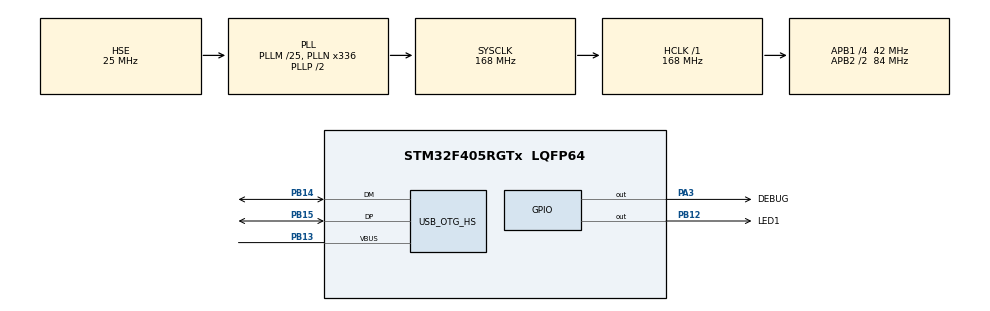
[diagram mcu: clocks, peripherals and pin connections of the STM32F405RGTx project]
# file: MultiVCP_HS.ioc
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Mcu.Family=STM32F4
Mcu.Name=STM32F405RGTx
Mcu.Package=LQFP64
NVIC.OTG_HS_IRQn=true\:1\:0\:true\:false\:true\:false\:true
NVIC.PriorityGroup=NVIC_PRIORITYGROUP_4
NVIC.TIM1_UP_TIM10_IRQn=true\:0\:0\:false\:false\:true\:false\:true
NVIC.TimeBase=TIM1_UP_TIM10_IRQn
NVIC.TimeBaseIP=TIM1
PA13.Mode=Serial_Wire
PA13.Signal=SYS_JTMS-SWDIO
PA14.Mode=Serial_Wire
PA14.Signal=SYS_JTCK-SWCLK
PA3.GPIO_Label=DEBUG
PA3.Signal=GPIO_Output
PB12.GPIO_Label=LED1
PB12.Signal=GPIO_Output
PB13.Mode=Activate_VBUS_FS
PB13.Signal=USB_OTG_HS_VBUS
PB14.Mode=Device_Only_FS
PB14.Signal=USB_OTG_HS_DM
PB15.Mode=Device_Only_FS
PB15.Signal=USB_OTG_HS_DP
PH0-OSC_IN.Mode=HSE-External-Oscillator
PH0-OSC_IN.Signal=RCC_OSC_IN
PH1-OSC_OUT.Mode=HSE-External-Oscillator
PH1-OSC_OUT.Signal=RCC_OSC_OUT
ProjectManager.HeapSize=0x200
ProjectManager.StackSize=0x400
ProjectManager.TargetToolchain=SW4STM32
RCC.48MHZClocksFreq_Value=48000000
RCC.AHBFreq_Value=168000000
RCC.APB1CLKDivider=RCC_HCLK_DIV4
RCC.APB1Freq_Value=42000000
RCC.APB1TimFreq_Value=84000000
RCC.APB2CLKDivider=RCC_HCLK_DIV2
RCC.APB2Freq_Value=84000000
RCC.APB2TimFreq_Value=168000000
RCC.CortexFreq_Value=168000000
RCC.HCLKFreq_Value=168000000
RCC.HSE_VALUE=25000000
RCC.HSI_VALUE=16000000
RCC.LSE_VALUE=32768
RCC.PLLM=25
RCC.PLLN=336
RCC.PLLQ=7
RCC.SYSCLKFreq_VALUE=168000000
RCC.SYSCLKSource=RCC_SYSCLKSOURCE_PLLCLK
RCC.VCOOutputFreq_Value=336000000
USB_DEVICE.CLASS_NAME_HS=CDC
USB_DEVICE.VirtualMode-CDC_HS=Cdc
USB_DEVICE.VirtualModeHS=Cdc_HS
USB_OTG_HS.VirtualMode-Device_Only_FS=Device_Only_FS
USB_OTG_HS.dma_enable-Device_Only_FS=ENABLE
VP_SYS_VS_tim1.Mode=TIM1
VP_USB_DEVICE_VS_USB_DEVICE_CDC_HS.Mode=CDC_HS
board=custom

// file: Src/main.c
/* USER CODE BEGIN Header */
/**
  ******************************************************************************
  * @file           : main.c
  * @brief          : Main program body
  ******************************************************************************
  * @attention
  *
  * <h2><center>&copy; Copyright (c) 2021 STMicroelectronics.
  * All rights reserved.</center></h2>
  *
  * This software component is licensed by ST under Ultimate Liberty license
  * SLA0044, the "License"; You may not use this file except in compliance with
  * the License. You may obtain a copy of the License at:
  *                             www.st.com/SLA0044
  *
  ******************************************************************************
  */
/* USER CODE END Header */

#include "main.h"
#include "usb_device.h"
#include "gpio.h"

/* USER CODE BEGIN Includes */
#include "usbd_cdc_if.h"
/* USER CODE END Includes */

/* USER CODE BEGIN PV */
uint32_t ts[3] = {0};
uint32_t period_ms[3] = {200, 500, 1500};
/* USER CODE END PV */

void SystemClock_Config(void);

int main(void)
{

  /* MCU Configuration--------------------------------------------------------*/

  /* Reset of all peripherals, Initializes the Flash interface and the Systick. */
  HAL_Init();

  /* Configure the system clock */
  SystemClock_Config();

  /* Initialize all configured peripherals */
  MX_GPIO_Init();
  MX_USB_DEVICE_Init();

  /* Infinite loop */
  while (1)
  {

    /* USER CODE BEGIN 3 */
	  //Demo transmition
	uint32_t now = HAL_GetTick();
	if((now - ts[0]) > period_ms[0]){
		ts[0] = now;
		static uint8_t msg0[] = "hello to cdc0\n";
		CDC_Transmit_HS(USB_CDC0, msg0, sizeof(msg0)-1);
	}

	if((now - ts[1]) > period_ms[1]){
		ts[1] = now;
		static uint8_t msg1[] = "hello to cdc1\n";
		CDC_Transmit_HS(USB_CDC1, msg1, sizeof(msg1)-1);
	}

	if((now - ts[2]) > period_ms[2]){
		ts[2] = now;
		static uint8_t msg2[] = "hello to cdc2\n";
		CDC_Transmit_HS(USB_CDC2, msg2, sizeof(msg2)-1);
	}

  }
  /* USER CODE END 3 */
}

void SystemClock_Config(void)
{
  RCC_OscInitTypeDef RCC_OscInitStruct = {0};
  RCC_ClkInitTypeDef RCC_ClkInitStruct = {0};

  /** Configure the main internal regulator output voltage
  */
  __HAL_RCC_PWR_CLK_ENABLE();
  __HAL_PWR_VOLTAGESCALING_CONFIG(PWR_REGULATOR_VOLTAGE_SCALE1);
  /** Initializes the CPU, AHB and APB busses clocks
  */
  RCC_OscInitStruct.OscillatorType = RCC_OSCILLATORTYPE_HSE;
  RCC_OscInitStruct.HSEState = RCC_HSE_ON;
  RCC_OscInitStruct.PLL.PLLState = RCC_PLL_ON;
  RCC_OscInitStruct.PLL.PLLSource = RCC_PLLSOURCE_HSE;
  RCC_OscInitStruct.PLL.PLLM = 25;
  RCC_OscInitStruct.PLL.PLLN = 336;
  RCC_OscInitStruct.PLL.PLLP = RCC_PLLP_DIV2;
  RCC_OscInitStruct.PLL.PLLQ = 7;
  if (HAL_RCC_OscConfig(&RCC_OscInitStruct) != HAL_OK)
  {
    Error_Handler();
  }
  /** Initializes the CPU, AHB and APB busses clocks
  */
  RCC_ClkInitStruct.ClockType = RCC_CLOCKTYPE_HCLK|RCC_CLOCKTYPE_SYSCLK
                              |RCC_CLOCKTYPE_PCLK1|RCC_CLOCKTYPE_PCLK2;
  RCC_ClkInitStruct.SYSCLKSource = RCC_SYSCLKSOURCE_PLLCLK;
  RCC_ClkInitStruct.AHBCLKDivider = RCC_SYSCLK_DIV1;
  RCC_ClkInitStruct.APB1CLKDivider = RCC_HCLK_DIV4;
  RCC_ClkInitStruct.APB2CLKDivider = RCC_HCLK_DIV2;

  if (HAL_RCC_ClockConfig(&RCC_ClkInitStruct, FLASH_LATENCY_5) != HAL_OK)
  {
    Error_Handler();
  }
}

/* USER CODE BEGIN 4 */
void CDC_RxCallback_HS(uint8_t intrfIdx, uint8_t* Buf, uint32_t Len)
{
	switch (intrfIdx) {
		case USB_CDC0:
			//USB_CDC0 data processig

			break;
		case USB_CDC1:
			//USB_CDC0 data processig

			break;
		case USB_CDC2:
			//USB_CDC0 data processig

			break;
		default:
			break;
	}
}
/* USER CODE END 4 */

 /**
  * @brief  Period elapsed callback in non blocking mode
  * @note   This function is called  when TIM1 interrupt took place, inside
  * HAL_TIM_IRQHandler(). It makes a direct call to HAL_IncTick() to increment
  * a global variable "uwTick" used as application time base.
  * @param  htim : TIM handle
  * @retval None
  */
void HAL_TIM_PeriodElapsedCallback(TIM_HandleTypeDef *htim)
{
  if (htim->Instance == TIM1) {
    HAL_IncTick();
  }
}

void Error_Handler(void)
{
}

/************************ (C) COPYRIGHT STMicroelectronics *****END OF FILE****/
